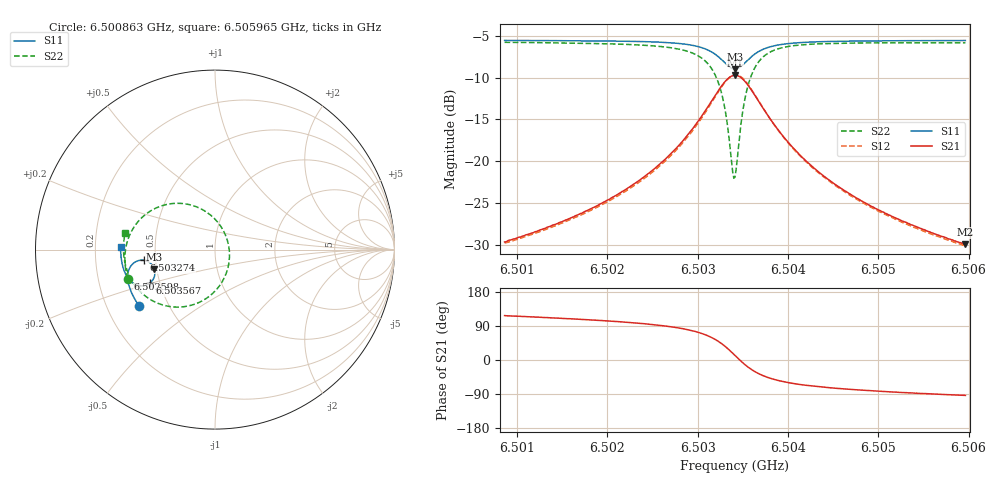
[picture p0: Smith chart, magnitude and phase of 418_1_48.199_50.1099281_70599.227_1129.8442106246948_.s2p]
#  HZ  S  RI  R  50.00
! Rohde & Schwarz Vector Network Analyzer
! Rohde-Schwarz,ZNB20-2Port,1311601062101988,3.16
! Created: UTC 3/20/2024, 11:54:48 AM
! freq[Hz]  re:S11  im:S11  re:S21  im:S21  re:S12  im:S12  re:S22  im:S22
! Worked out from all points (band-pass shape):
!   401 points, 6.500863 GHz to 6.505965 GHz, reference 50 ohm
!   highest |S21| = -9.73 dB at 6.503414 GHz (marker M1); lowest = -29.9 dB at 6.505965 GHz (marker M2)
!   |S21| within 3 dB of the highest: 6.503159 GHz to 6.50367 GHz (510.7 kHz wide, 0.00785 % of centre)
!   lowest |S11| = -9.0 dB at 6.503414 GHz (marker M3), VSWR 2.10, Z = 24.3 - j6.02 ohm
!   |S11| at or under -10 dB: nowhere
!   |S22| runs from -22.0 to -5.8 dB; largest |S21 - S12| = 0.011
!   S11 on the Smith chart (normalised r, x): 6.500863 GHz: 0.34, -0.30; 6.502598 GHz: 0.33, -0.15; 6.503274 GHz: 0.43, -0.06; 6.503567 GHz: 0.44, -0.20; 6.505965 GHz: 0.31, +0.01
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6.5008628e9  -0.4222 -0.3147  -0.0151 0.0294  -0.0134 0.0296  -0.4869 -0.1626
6.5017174e9  -0.4595 -0.2522  -0.0144 0.0468  -0.0122 0.0465  -0.5016 -0.0733
6.5021894e9  -0.4764 -0.2108  -0.0117 0.0661  -0.00865 0.065  -0.4995 -0.00734
6.502572e9  -0.4859 -0.1692  -0.00286 0.0951  0.000708 0.0929  -0.4808 0.0679
6.5025976e9  -0.4863 -0.1658  -0.00182 0.098  0.00184 0.0955  -0.4784 0.074
6.5028399e9  -0.4849 -0.1301  0.0174 0.1319  0.0213 0.1279  -0.4378 0.1446
6.5030185e9  -0.4723 -0.0965  0.0543 0.1686  0.0575 0.1632  -0.3657 0.2114
6.5031716e9  -0.4391 -0.0661  0.128 0.199  0.1291 0.1928  -0.2312 0.2571
6.5032736e9  -0.3965 -0.0592  0.213 0.1905  0.2132 0.1851  -0.0831 0.2298
6.5033246e9  -0.3709 -0.0678  0.2612 0.1627  0.2618 0.1583  -0.00317 0.1728
6.5033884e9  -0.3443 -0.0941  0.3089 0.0996  0.3113 0.0949  0.0689 0.0516
6.5034139e9  -0.338 -0.1084  0.3191 0.0677  0.3222 0.062  0.0801 -0.00781
6.5034394e9  -0.335 -0.1239  0.3229 0.0344  0.3263 0.0276  0.0785 -0.0686
6.5035032e9  -0.3418 -0.1609  0.3052 -0.043  0.3074 -0.0527  0.0241 -0.203
6.503567e9  -0.3628 -0.1866  0.2631 -0.097  0.262 -0.1079  -0.0712 -0.2855
6.503669e9  -0.402 -0.2019  0.189 -0.1332  0.1838 -0.1425  -0.2199 -0.3201
6.5038349e9  -0.4479 -0.1924  0.1079 -0.1305  0.1011 -0.1355  -0.3662 -0.2745
6.5040134e9  -0.4751 -0.1711  0.0637 -0.1107  0.0575 -0.113  -0.4379 -0.2102
6.5042686e9  -0.496 -0.141  0.0339 -0.0867  0.0291 -0.0872  -0.4811 -0.1384
6.504664e9  -0.5119 -0.1002  0.0146 -0.0632  0.0113 -0.0629  -0.504 -0.0618
6.5051232e9  -0.521 -0.058  0.00509 -0.0474  0.00289 -0.0468  -0.5096 0.00173
6.5059651e9  -0.5259 0.013  -0.0019 -0.0319  -0.00336 -0.0309  -0.5018 0.0898
